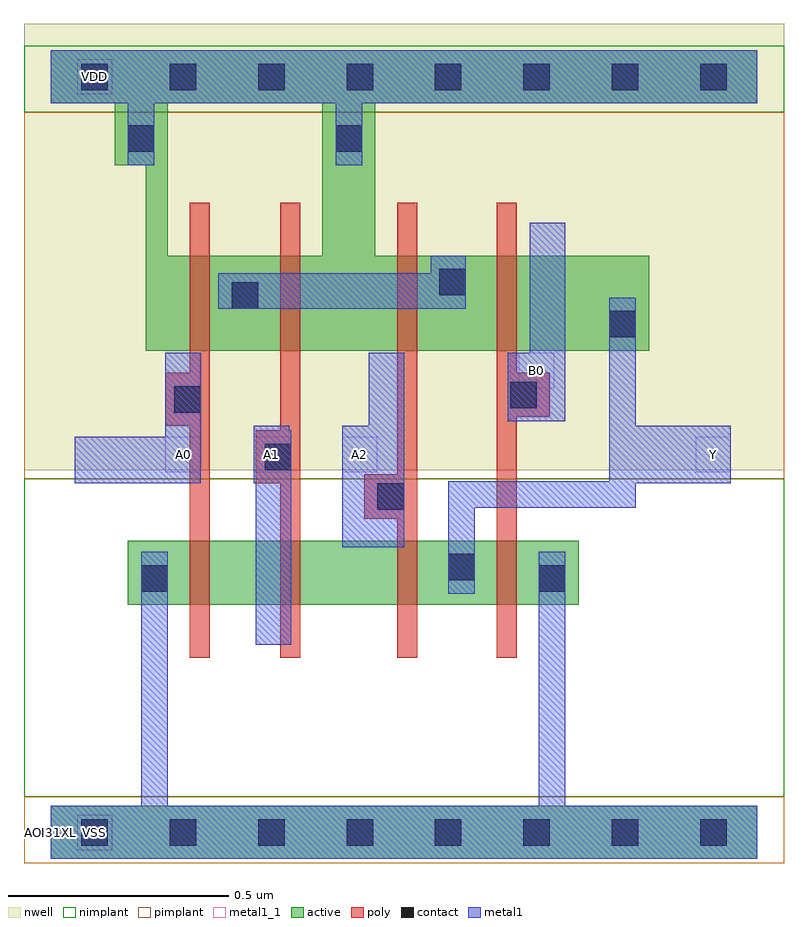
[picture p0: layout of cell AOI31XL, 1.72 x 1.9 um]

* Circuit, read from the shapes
.subckt AOI31XL A0 A1 A2 B0 VDD VSS Y
M1 n1 A0 VSS VSS nfet w=0.145u l=0.045u
M2 n2 A1 n1 VSS nfet w=0.145u l=0.045u
M3 Y A2 n2 VSS nfet w=0.145u l=0.045u
M4 VSS B0 Y VSS nfet w=0.145u l=0.045u
M5 n3 A0 VDD VDD pfet w=0.215u l=0.045u
M6 VDD A1 n3 VDD pfet w=0.215u l=0.045u
M7 n3 A2 VDD VDD pfet w=0.215u l=0.045u
M8 Y B0 n3 VDD pfet w=0.215u l=0.045u
.ends

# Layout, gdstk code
import gdstk
lib = gdstk.Library(unit=1e-6, precision=5e-10)
def R(c, l, rs):  # rectangles x0, y0, x1, y1
    for r in rs: c.add(gdstk.rectangle(r[:2], r[2:], *l))
def A(c, l, x, y, w, h, nx, ny, dx, dy):  # array of equal rectangles
    R(c, l, [(x+i*dx, y+j*dy, x+i*dx+w, y+j*dy+h) for i in range(nx) for j in range(ny)])
def P(c, l, *ps):  # polygons
    for p in ps: c.add(gdstk.Polygon(p, *l))
active = (1, 0)
nwell = (2, 0)
poly = (3, 0)
nimplant = (4, 0)
pimplant = (5, 0)
contact = (6, 0)
metal1 = (7, 0)
metal1_1 = (7, 1)

aoi31xl = lib.new_cell('AOI31XL')
R(aoi31xl, active, [(0,-0.06,1.6,0.06), (0.175,0.515,1.195,0.66)])
P(aoi31xl, active, [(0,1.77),(1.6,1.77),(1.6,1.65),(0.735,1.65),(0.735,1.305),(1.355,1.305),(1.355,1.09),(0.215,1.09),(0.215,1.51),(0.145,1.51),(0.145,1.65),(0.265,1.65),(0.265,1.305),(0.615,1.305),(0.615,1.65),(0,1.65)])
R(aoi31xl, nwell, [(-0.06,0.82,1.66,1.83)])
P(aoi31xl, poly, [(0.315,1.425),(0.36,1.425),(0.36,0.395),(0.315,0.395),(0.315,0.92),(0.26,0.92),(0.26,1.04),(0.315,1.04)],
  [(0.52,1.425),(0.565,1.425),(0.565,0.395),(0.52,0.395),(0.52,0.79),(0.465,0.79),(0.465,0.91),(0.52,0.91)],
  [(0.785,1.425),(0.83,1.425),(0.83,0.395),(0.785,0.395),(0.785,0.71),(0.71,0.71),(0.71,0.81),(0.785,0.81)],
  [(1.01,1.425),(1.055,1.425),(1.055,1.04),(1.13,1.04),(1.13,0.94),(1.055,0.94),(1.055,0.395),(1.01,0.395)])
R(aoi31xl, nimplant, [(-0.06,0.08,1.66,0.8), (-0.06,1.63,1.66,1.78)])
R(aoi31xl, pimplant, [(-0.06,-0.07,1.66,0.08), (-0.06,0.8,1.66,1.63)])
A(aoi31xl, contact, 0.07, -0.03, 0.06, 0.06, 8, 2, 0.2, 1.71)
R(aoi31xl, contact, [(0.205,0.545,0.265,0.605), (1.105,0.545,1.165,0.605), (0.9,0.57,0.96,0.63), (0.74,0.73,0.8,0.79), (0.485,0.82,0.545,0.88), (0.28,0.95,0.34,1.01), (1.04,0.96,1.1,1.02), (1.265,1.12,1.325,1.18), (0.41,1.185,0.47,1.245), (0.88,1.215,0.94,1.275), (0.175,1.54,0.235,1.6), (0.645,1.54,0.705,1.6)])
P(aoi31xl, metal1, [(0.72,1.085),(0.8,1.085),(0.8,0.645),(0.66,0.645),(0.66,0.92),(0.72,0.92)],
  [(0.46,0.92),(0.54,0.92),(0.54,0.91),(0.545,0.91),(0.545,0.425),(0.465,0.425),(0.465,0.79),(0.46,0.79)],
  [(0.205,0.635),(0.265,0.635),(0.265,0.06),(1.105,0.06),(1.105,0.635),(1.165,0.635),(1.165,0.06),(1.6,0.06),(1.6,-0.06),(0,-0.06),(0,0.06),(0.205,0.06)],
  [(0,1.77),(1.6,1.77),(1.6,1.65),(0.705,1.65),(0.705,1.51),(0.645,1.51),(0.645,1.65),(0.235,1.65),(0.235,1.51),(0.175,1.51),(0.175,1.65),(0,1.65)],
  [(0.86,1.305),(0.94,1.305),(0.94,1.185),(0.38,1.185),(0.38,1.265),(0.86,1.265)],
  [(1.265,1.21),(1.325,1.21),(1.325,0.92),(1.54,0.92),(1.54,0.79),(1.325,0.79),(1.325,0.735),(0.96,0.735),(0.96,0.54),(0.9,0.54),(0.9,0.795),(1.265,0.795)],
  [(1.085,1.38),(1.165,1.38),(1.165,0.93),(1.035,0.93),(1.035,1.085),(1.085,1.085)],
  [(0.26,1.085),(0.34,1.085),(0.34,0.79),(0.055,0.79),(0.055,0.895),(0.26,0.895)])
A(aoi31xl, metal1_1, 0.26, 0.815, 0.08, 0.08, 3, 1, 0.2, 0)
R(aoi31xl, metal1_1, [(0.06,-0.04,0.14,0.04), (1.46,0.815,1.54,0.895), (1.06,1.005,1.14,1.085), (0.06,1.67,0.14,1.75)])
aoi31xl.add(gdstk.Label('Y', (1.5,0.855), layer=7, texttype=1))
aoi31xl.add(gdstk.Label('A0', (0.3,0.855), layer=7, texttype=1))
aoi31xl.add(gdstk.Label('B0', (1.1,1.045), layer=7, texttype=1))
aoi31xl.add(gdstk.Label('A2', (0.7,0.855), layer=7, texttype=1))
aoi31xl.add(gdstk.Label('A1', (0.5,0.855), layer=7, texttype=1))
aoi31xl.add(gdstk.Label('VDD', (0.1,1.71), layer=7, texttype=1))
aoi31xl.add(gdstk.Label('VSS', (0.1,0), layer=7, texttype=1))
aoi31xl.add(gdstk.Label('AOI31XL', (0,0), layer=63, texttype=0))

lib.write_gds('AOI31XL.gds')
